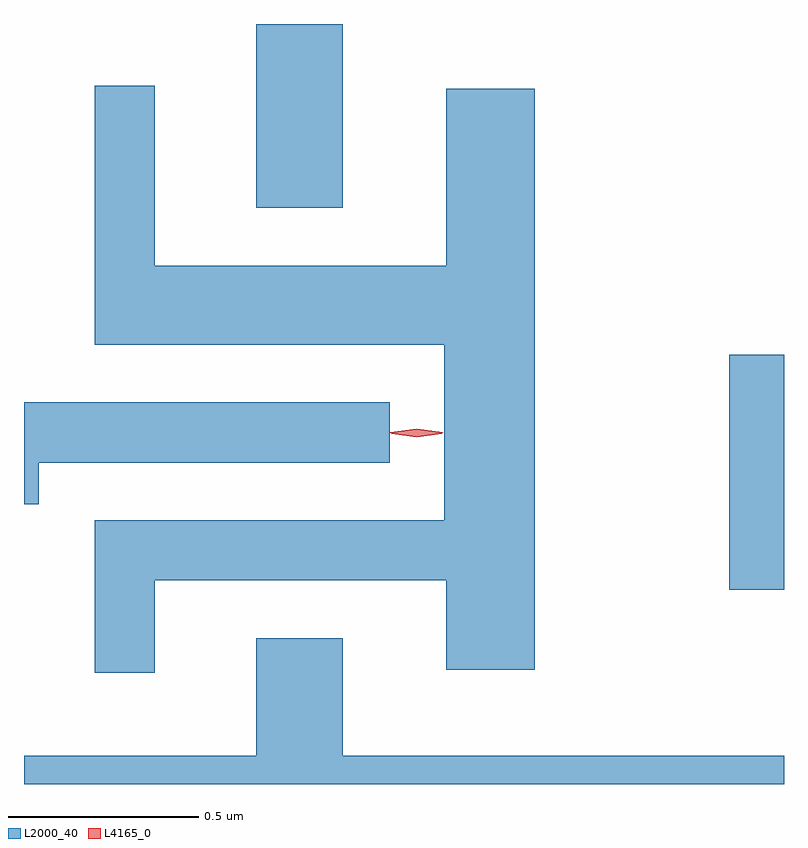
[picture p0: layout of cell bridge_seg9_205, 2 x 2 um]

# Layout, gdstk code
import gdstk
lib = gdstk.Library(unit=1e-6, precision=1e-09)
def R(c, l, rs):  # rectangles x0, y0, x1, y1
    for r in rs: c.add(gdstk.rectangle(r[:2], r[2:], *l))
def P(c, l, *ps):  # polygons
    for p in ps: c.add(gdstk.Polygon(p, *l))
L2000_40 = (2000, 40)
L4165_0 = (4165, 0)

bridge_seg9_205 = lib.new_cell('bridge_seg9_205')
R(bridge_seg9_205, L2000_40, [(1271.986,1979.201,1272.13,1979.819), (1270.741,1980.206,1270.969,1980.69)])
P(bridge_seg9_205, L2000_40, [(1270.474,1979.226),(1271.241,1979.226),(1271.241,1978.991),(1271.474,1978.991),(1271.474,1980.519),(1271.241,1980.519),(1271.241,1980.054),(1270.474,1980.054),(1270.474,1980.528),(1270.316,1980.528),(1270.316,1979.846),(1271.236,1979.846),(1271.236,1979.384),(1270.316,1979.384),(1270.316,1978.983),(1270.474,1978.983)],
  [(1270.169,1979.536),(1271.093,1979.536),(1271.093,1979.694),(1270.13,1979.694),(1270.13,1979.426),(1270.169,1979.426)],
  [(1272.13,1978.764),(1270.969,1978.764),(1270.969,1979.074),(1270.741,1979.074),(1270.741,1978.764),(1270.13,1978.764),(1270.13,1978.69),(1272.13,1978.69)])
P(bridge_seg9_205, L4165_0, [(1271.164,1979.602),(1271.098,1979.612),(1271.097,1979.612),(1271.098,1979.613),(1271.164,1979.622),(1271.229,1979.613),(1271.23,1979.612),(1271.229,1979.612)],
  [(1271.163,1979.605),(1271.094,1979.614),(1271.094,1979.615),(1271.094,1979.616),(1271.163,1979.625),(1271.232,1979.616),(1271.232,1979.615),(1271.232,1979.614)])

lib.write_gds('bridge_seg9_205.gds')
